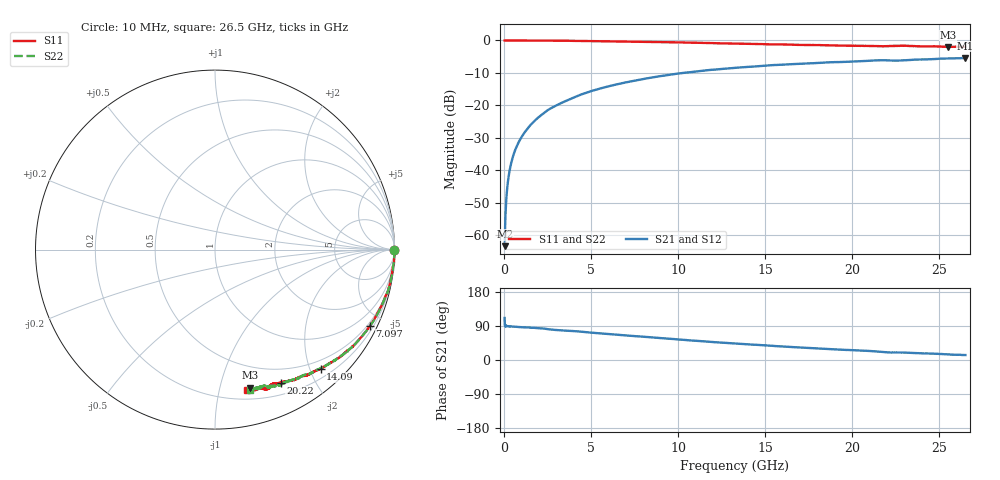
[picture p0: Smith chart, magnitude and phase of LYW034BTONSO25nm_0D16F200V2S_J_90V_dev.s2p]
!Keysight Technologies,N5222B,MY61253708,A.15.00.15
!Date: Wednesday, June 19, 2024 09:31:12
!Correction: S11(C  2-Port  )
!S21(C  2-Port  )
!S12(C  2-Port  )
!S22(C  2-Port  )
!S2P File: Measurements: S11, S21, S12, S22:
# Hz S  RI  R 50
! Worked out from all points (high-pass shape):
!   2651 points, 10 MHz to 26.5 GHz, reference 50 ohm
!   highest |S21| = -5.38 dB at 26.5 GHz (marker M1); lowest = -63.4 dB at 20 MHz (marker M2)
!   |S21| within 3 dB of the highest: 13.4 GHz to end of sweep
!   lowest |S11| = -2.0 dB at 25.5 GHz (marker M3), VSWR 8.68, Z = 15 - j62.2 ohm
!   |S11| at or under -10 dB: nowhere
!   |S22| runs from -1.9 to 0.0 dB; largest |S21 - S12| = 0.0069
!   S11 on the Smith chart (normalised r, x): 10 MHz: open; 7.097 GHz: 0.37, -4.26; 14.09 GHz: 0.35, -2.18; 20.22 GHz: 0.33, -1.56; 26.5 GHz: 0.28, -1.21
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1e7  0.9987 -0.00239  -0.000259 0.000676  -0.000112 0.000453  0.9984 -0.000707
1.999623e7  0.9989 -0.00234  -4.76e-05 0.000677  2.46e-05 0.000697  0.9992 -0.00239
8.996981e7  0.9999 -0.00594  1.92e-06 0.00298  2.55e-06 0.00303  0.9996 -0.00549
1.699396e8  0.9999 -0.0119  7.01e-05 0.00566  3.97e-05 0.00573  0.9997 -0.0112
2.199208e8  0.9998 -0.0153  0.000109 0.00733  0.000116 0.00738  0.9993 -0.0144
2.898943e8  0.9997 -0.02  0.000161 0.00969  0.000165 0.00978  0.9996 -0.0193
3.998528e8  0.9993 -0.0275  0.000393 0.0133  0.000383 0.0134  0.9993 -0.0263
5.298038e8  0.9989 -0.0357  0.000621 0.0176  0.000615 0.0177  0.9989 -0.0349
8.896679e8  0.9977 -0.0601  0.0017 0.0294  0.00172 0.0297  0.997 -0.0585
1.489442e9  0.9902 -0.1009  0.00411 0.0495  0.0042 0.0498  0.9932 -0.097
2.359113e9  0.9813 -0.1549  0.0105 0.0793  0.0108 0.0799  0.9829 -0.1544
3.228785e9  0.9688 -0.2108  0.0216 0.1052  0.0219 0.1061  0.9709 -0.2072
4.428332e9  0.9413 -0.2825  0.039 0.1425  0.0395 0.1434  0.9436 -0.2788
7.097325e9  0.8631 -0.4256  0.0992 0.2066  0.1007 0.2075  0.8655 -0.423
8.846664e9  0.7996 -0.5044  0.1466 0.2375  0.1484 0.2382  0.8026 -0.5014
1.3255e10  0.6222 -0.6433  0.2745 0.2609  0.2771 0.2606  0.628 -0.6409
1.409468e10  0.5886 -0.6645  0.2963 0.2579  0.2992 0.2575  0.5966 -0.6581
1.767333e10  0.4495 -0.7208  0.3804 0.2323  0.3842 0.2304  0.4627 -0.718
2.022237e10  0.3651 -0.7413  0.4312 0.2046  0.4333 0.2018  0.3807 -0.7413
2.209166e10  0.3146 -0.7519  0.4625 0.1698  0.4647 0.1665  0.3116 -0.7588
2.550038e10  0.1964 -0.7687  0.5111 0.1329  0.5127 0.1322  0.2191 -0.7728
2.65e10  0.1773 -0.7831  0.5246 0.1219  0.5242 0.1176  0.1927 -0.7825
